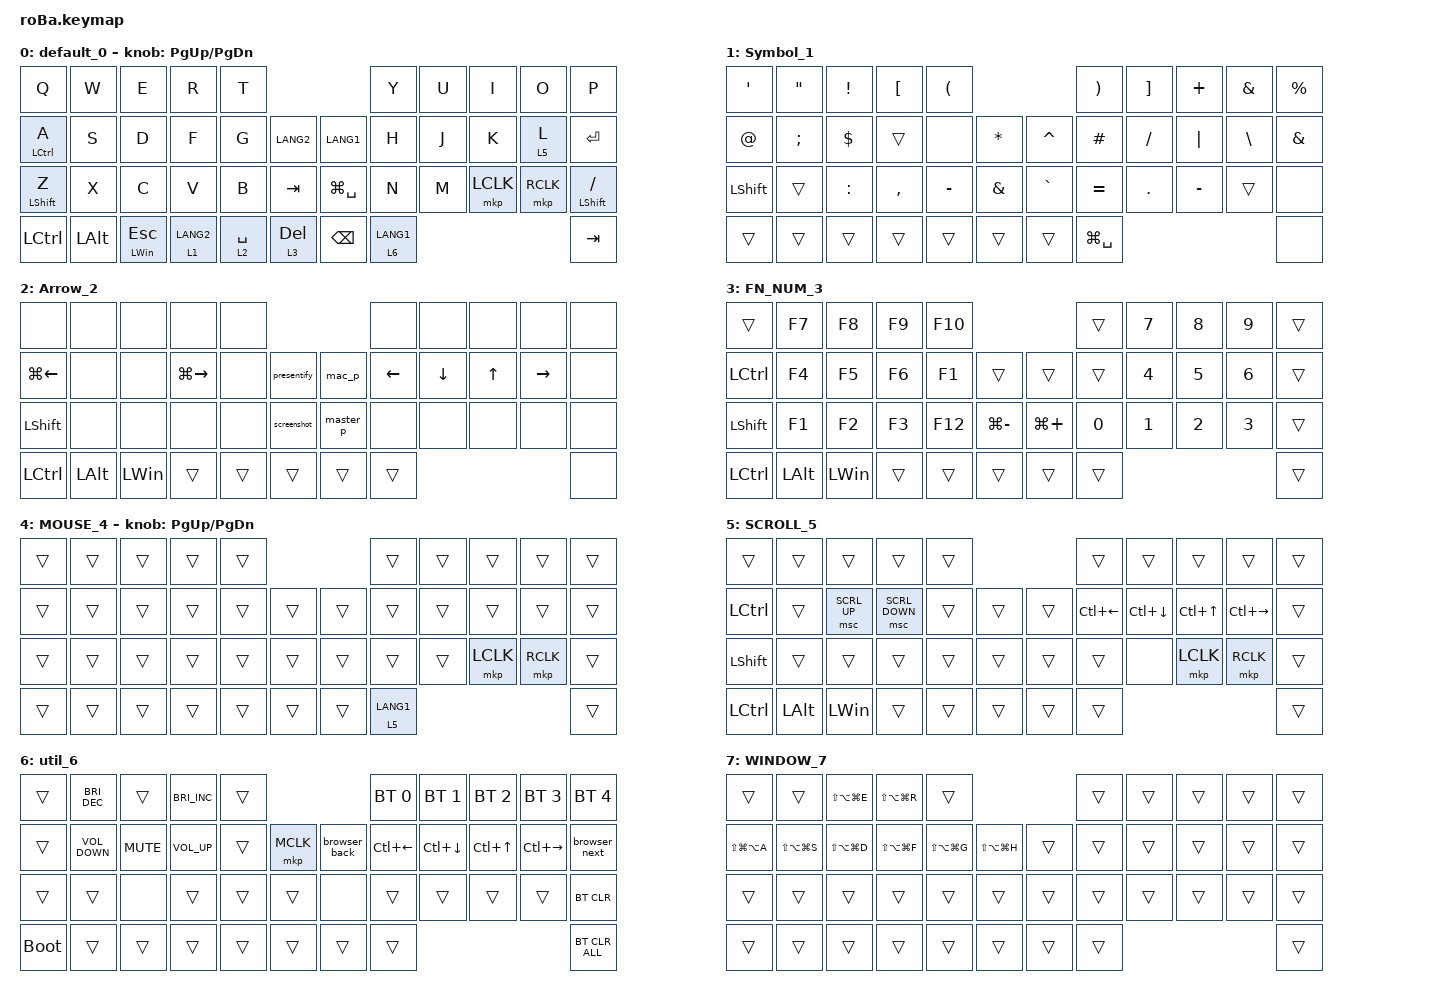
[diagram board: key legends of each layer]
#define ZMK_POINTING_DEFAULT_MOVE_VAL 4000

#include <behaviors.dtsi>
#include <dt-bindings/zmk/bt.h>
#include <dt-bindings/zmk/keys.h>
#include <dt-bindings/zmk/pointing.h>

#define MOUSE 4
#define SCROLL 5
#define NUM 6

&mt { flavor = "balanced"; };

&mmv { time-to-max-speed-ms = <40>; };

&msc { time-to-max-speed-ms = <40>; };

&lt {
};

/ {
    combos {
        compatible = "zmk,combos";

        tab {
            bindings = <&kp TAB>;
            key-positions = <11 12>;
        };

        shift_tab {
            bindings = <&kp LS(TAB)>;
            key-positions = <1 2>;
        };

        shift-z {
            bindings = <&kp LS(Z)>;
            key-positions = <22 23>;
        };

        to_window_layer {
            bindings = <&mo 7>;
            key-positions = <6 7 8>;
        };

        to-6-layer {
            bindings = <&mo 6>;
            key-positions = <38 37>;
        };

        minus {
            bindings = <&kp MINUS>;
            key-positions = <2 3>;
        };

        plus {
            bindings = <&kp PLUS>;
            key-positions = <6 7>;
        };

        asterisk {
            bindings = <&kp ASTERISK>;
            key-positions = <12 13>;
        };

        slash {
            bindings = <&kp SLASH>;
            key-positions = <18 19>;
        };

        en {
            bindings = <&kp LANG2>;
            key-positions = <23 24>;
        };

        ja {
            bindings = <&kp LANG1>;
            key-positions = <31 32>;
        };
    };

    macros {
        to_layer_0: to_layer_0 {
            compatible = "zmk,behavior-macro-one-param";
            #binding-cells = <1>;
            bindings = <&to 0 &macro_param_1to1 &kp MACRO_PLACEHOLDER>;
            label = "TO_LAYER_0";
        };

        screenshot: screenshot {
            compatible = "zmk,behavior-macro";
            #binding-cells = <0>;
            bindings = <&kp LG(LS(NUMBER_5))>;
            label = "SCREENSHOT";
        };

        master_p: master_p {
            compatible = "zmk,behavior-macro";
            #binding-cells = <0>;
            bindings = <&kp J &kp F &kp J &kp F &kp H &kp G &kp H &kp G &kp UNDER &kp Y &kp U &kp H &kp G &kp O &kp UNDER &kp N0 &kp N9 &kp N0 &kp N7 &kp UNDER &kp N2 &kp N5 &kp N2 &kp N5>;
            label = "MASTER_P";
        };

        mac_p: mac_p {
            compatible = "zmk,behavior-macro";
            #binding-cells = <0>;
            bindings = <&kp J &kp F &kp J &kp F &kp H &kp G &kp H &kp G>;
            label = "MAC_P";
        };

        presentify: presentify {
            compatible = "zmk,behavior-macro";
            #binding-cells = <0>;
            bindings = <&kp LS(LA(LC(LG(O))))>;
            label = "PRESENTIFY";
        };

        browser_back: browser_back {
            compatible = "zmk,behavior-macro";
            #binding-cells = <0>;
            bindings = <&kp LG(LEFT)>;
            label = "BROWSER_BACK";
        };

        browser_next: browser_next {
            compatible = "zmk,behavior-macro";
            #binding-cells = <0>;
            bindings = <&kp LG(RIGHT)>;
            label = "BROWSER_NEXT";
        };
    };

    behaviors {
        lt_to_layer_0: lt_to_layer_0 {
            compatible = "zmk,behavior-hold-tap";
            label = "LAYER_TAP_TO_0";
            bindings = <&mo>, <&to_layer_0>;

            #binding-cells = <2>;
            tapping-term-ms = <200>;
        };

        double_shift: double_shift {
            compatible = "zmk,behavior-tap-dance";
            label = "DOUBLE_SHIFT";
            #binding-cells = <0>;
            tapping-term-ms = <200>;
            bindings = <&kp Z>, <&kp Z>;
        };

        layer3_backspace_td: layer3_backspace_td {
            compatible = "zmk,behavior-tap-dance";
            label = "LAYER3_BACKSPACE_TD";
            #binding-cells = <0>;
            tapping-term-ms = <200>;
            bindings = <&mo 3>, <&kp BACKSPACE>;
        };

        tab_enter_td: tab_enter_td {
            compatible = "zmk,behavior-tap-dance";
            label = "TAB_ENTER_TD";
            #binding-cells = <0>;
            tapping-term-ms = <200>;
            bindings = <&kp TAB>, <&kp ENTER>;
        };
    };

    keymap {
        compatible = "zmk,keymap";

        default_0 {
            bindings = <
&kp Q             &kp W         &kp E             &kp R        &kp T                                         &kp Y        &kp U  &kp I      &kp O      &kp P
&mt LCTRL A       &kp S         &kp D             &kp F        &kp G        &kp LANG2         &kp LANG1      &kp H        &kp J  &kp K      &lt 5 L    &kp RETURN
&mt LEFT_SHIFT Z  &kp X         &kp C             &kp V        &kp B        &kp TAB           &kp LG(SPACE)  &kp N        &kp M  &mkp LCLK  &mkp RCLK  &mt LEFT_SHIFT SLASH
&kp LCTRL         &kp LEFT_ALT  &mt LEFT_WIN ESC  &lt 1 LANG2  &lt 2 SPACE  &lt 3 DELETE      &kp BACKSPACE  &lt 6 LANG1                               &kp TAB
            >;

            sensor-bindings = <&inc_dec_kp PG_UP PAGE_DOWN>;
        };

        Symbol_1 {
            bindings = <
&kp SINGLE_QUOTE  &kp DOUBLE_QUOTES  &kp EXCL    &kp LEFT_BRACKET  &kp LEFT_PARENTHESIS                                &kp RIGHT_PARENTHESIS  &kp RIGHT_BRACKET  &kp PLUS   &kp AMPERSAND  &kp PERCENT
&kp AT_SIGN       &kp SEMICOLON      &kp DOLLAR  &trans            &none                 &kp ASTERISK       &kp CARET  &kp HASH               &kp SLASH          &kp PIPE   &kp BACKSLASH  &kp AMPERSAND
&kp LEFT_SHIFT    &trans             &kp COLON   &kp COMMA         &kp MINUS             &kp AMPERSAND      &kp GRAVE  &kp EQUAL              &kp PERIOD         &kp MINUS  &trans         &none
&trans            &trans             &trans      &trans            &trans                &trans             &trans     &kp LG(SPACE)                                                       &none
            >;
        };

        Arrow_2 {
            bindings = <
&none           &none         &none         &none          &none                               &none     &none     &none         &none      &none
&kp LG(LEFT)    &none         &none         &kp LG(RIGHT)  &none   &presentify      &mac_p     &kp LEFT  &kp DOWN  &kp UP_ARROW  &kp RIGHT  &none
&kp LEFT_SHIFT  &none         &none         &none          &none   &screenshot      &master_p  &none     &none     &none         &none      &none
&kp LCTRL       &kp LEFT_ALT  &kp LEFT_WIN  &trans         &trans  &trans           &trans     &trans                                       &none
            >;
        };

        FN_NUM_3 {
            bindings = <
&trans          &kp F7        &kp F8        &kp F9  &kp F10                                   &trans        &kp NUMBER_7  &kp NUMBER_8  &kp NUMBER_9  &trans
&kp LCTRL       &kp F4        &kp F5        &kp F6  &kp F1   &trans             &trans        &trans        &kp NUMBER_4  &kp N5        &kp NUMBER_6  &trans
&kp LEFT_SHIFT  &kp F1        &kp F2        &kp F3  &kp F12  &kp LG(MINUS)      &kp LG(PLUS)  &kp NUMBER_0  &kp NUMBER_1  &kp NUMBER_2  &kp NUMBER_3  &trans
&kp LCTRL       &kp LEFT_ALT  &kp LEFT_WIN  &trans  &trans   &trans             &trans        &trans                                                  &trans
            >;
        };

        MOUSE_4 {
            bindings = <
&trans  &trans  &trans  &trans  &trans                      &trans       &trans  &trans     &trans     &trans
&trans  &trans  &trans  &trans  &trans  &trans      &trans  &trans       &trans  &trans     &trans     &trans
&trans  &trans  &trans  &trans  &trans  &trans      &trans  &trans       &trans  &mkp LCLK  &mkp RCLK  &trans
&trans  &trans  &trans  &trans  &trans  &trans      &trans  &lt 5 LANG1                                &trans
            >;

            sensor-bindings = <&inc_dec_kp PG_UP PAGE_DOWN>;
        };

        SCROLL_5 {
            bindings = <
&trans          &trans        &trans        &trans          &trans                      &trans        &trans        &trans            &trans         &trans
&kp LCTRL       &trans        &msc SCRL_UP  &msc SCRL_DOWN  &trans  &trans      &trans  &kp LC(LEFT)  &kp LC(DOWN)  &kp LC(UP_ARROW)  &kp LC(RIGHT)  &trans
&kp LEFT_SHIFT  &trans        &trans        &trans          &trans  &trans      &trans  &trans        &none         &mkp LCLK         &mkp RCLK      &trans
&kp LCTRL       &kp LEFT_ALT  &kp LEFT_WIN  &trans          &trans  &trans      &trans  &trans                                                       &trans
            >;
        };

        util_6 {
            bindings = <
&trans       &kp C_BRIGHTNESS_DEC  &trans      &kp C_BRIGHTNESS_INC  &trans                                &bt BT_SEL 0  &bt BT_SEL 1  &bt BT_SEL 2      &bt BT_SEL 3   &bt BT_SEL 4
&trans       &kp C_VOLUME_DOWN     &kp K_MUTE  &kp C_VOL_UP          &trans  &mkp MCLK      &browser_back  &kp LC(LEFT)  &kp LC(DOWN)  &kp LC(UP_ARROW)  &kp LC(RIGHT)  &browser_next
&trans       &trans                &none       &trans                &trans  &trans         &none          &trans        &trans        &trans            &trans         &bt BT_CLR
&bootloader  &trans                &trans      &trans                &trans  &trans         &trans         &trans                                                       &bt BT_CLR_ALL
            >;
        };

        WINDOW_7 {
            bindings = <
&trans             &trans             &kp LS(LA(LG(E)))  &kp LS(LA(LG(R)))  &trans                                            &trans  &trans  &trans  &trans  &trans
&kp LS(LG(LA(A)))  &kp LS(LA(LG(S)))  &kp LS(LA(LG(D)))  &kp LS(LA(LG(F)))  &kp LS(LA(LG(G)))  &kp LS(LA(LG(H)))      &trans  &trans  &trans  &trans  &trans  &trans
&trans             &trans             &trans             &trans             &trans             &trans                 &trans  &trans  &trans  &trans  &trans  &trans
&trans             &trans             &trans             &trans             &trans             &trans                 &trans  &trans                          &trans
            >;
        };
    };
};
